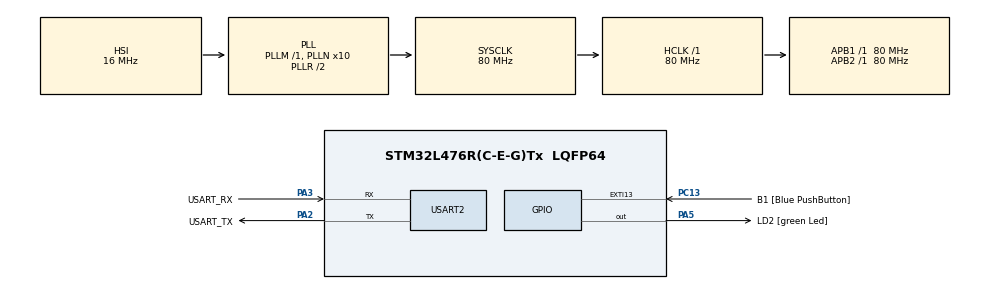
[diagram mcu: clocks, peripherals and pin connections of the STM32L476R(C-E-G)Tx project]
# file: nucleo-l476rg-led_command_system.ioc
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Mcu.Family=STM32L4
Mcu.Name=STM32L476R(C-E-G)Tx
Mcu.Package=LQFP64
NVIC.PriorityGroup=NVIC_PRIORITYGROUP_4
NVIC.USART2_IRQn=true\:0\:0\:false\:false\:true\:true\:true
PA13\ (JTMS-SWDIO).GPIO_Label=TMS
PA13\ (JTMS-SWDIO).Mode=Serial_Wire
PA13\ (JTMS-SWDIO).Signal=SYS_JTMS-SWDIO
PA14\ (JTCK-SWCLK).GPIO_Label=TCK
PA14\ (JTCK-SWCLK).Mode=Serial_Wire
PA14\ (JTCK-SWCLK).Signal=SYS_JTCK-SWCLK
PA2.GPIO_Label=USART_TX
PA2.GPIO_Mode=GPIO_MODE_AF_PP
PA2.GPIO_PuPd=GPIO_NOPULL
PA2.GPIO_Speed=GPIO_SPEED_FREQ_VERY_HIGH
PA2.Mode=Asynchronous
PA2.Signal=USART2_TX
PA3.GPIO_Label=USART_RX
PA3.GPIO_Mode=GPIO_MODE_AF_PP
PA3.GPIO_PuPd=GPIO_NOPULL
PA3.GPIO_Speed=GPIO_SPEED_FREQ_VERY_HIGH
PA3.Mode=Asynchronous
PA3.Signal=USART2_RX
PA5.GPIO_Label=LD2 [green Led]
PA5.GPIO_ModeDefaultOutputPP=GPIO_MODE_OUTPUT_PP
PA5.GPIO_PuPd=GPIO_NOPULL
PA5.GPIO_Speed=GPIO_SPEED_FREQ_LOW
PA5.Signal=GPIO_Output
PB3\ (JTDO-TRACESWO).GPIO_Label=SWO
PB3\ (JTDO-TRACESWO).Signal=SYS_JTDO-SWO
PC13.GPIO_Label=B1 [Blue PushButton]
PC13.GPIO_ModeDefaultEXTI=GPIO_MODE_IT_FALLING
PC13.GPIO_PuPd=GPIO_NOPULL
PC13.Signal=GPXTI13
PC14-OSC32_IN\ (PC14).Mode=LSE-External-Oscillator
PC14-OSC32_IN\ (PC14).Signal=RCC_OSC32_IN
PC15-OSC32_OUT\ (PC15).Mode=LSE-External-Oscillator
PC15-OSC32_OUT\ (PC15).Signal=RCC_OSC32_OUT
PH0-OSC_IN\ (PH0).Signal=RCC_OSC_IN
PH1-OSC_OUT\ (PH1).Signal=RCC_OSC_OUT
ProjectManager.HeapSize=0x200
ProjectManager.StackSize=0x400
ProjectManager.TargetToolchain=STM32CubeIDE
RCC.ADCFreq_Value=64000000
RCC.AHBFreq_Value=80000000
RCC.APB1Freq_Value=80000000
RCC.APB1TimFreq_Value=80000000
RCC.APB2Freq_Value=80000000
RCC.APB2TimFreq_Value=80000000
RCC.CortexFreq_Value=80000000
RCC.HCLKFreq_Value=80000000
RCC.HSE_VALUE=8000000
RCC.HSI_VALUE=16000000
RCC.MSI_VALUE=4000000
RCC.PLLN=10
RCC.PLLSourceVirtual=RCC_PLLSOURCE_HSI
RCC.PREFETCH_ENABLE=1
RCC.SYSCLKFreq_VALUE=80000000
RCC.SYSCLKSource=RCC_SYSCLKSOURCE_PLLCLK
RCC.USBFreq_Value=64000000
RCC.VCOOutputFreq_Value=160000000
USART2.VirtualMode-Asynchronous=VM_ASYNC
board=NUCLEO-L476RG

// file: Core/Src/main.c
/* USER CODE BEGIN Header */
/**
  ******************************************************************************
  * @file           : main.c
  * @brief          : Main program body
  ******************************************************************************
  * @attention
  *
  * <h2><center>&copy; Copyright (c) 2021 STMicroelectronics.
  * All rights reserved.</center></h2>
  *
  * This software component is licensed by ST under BSD 3-Clause license,
  * the "License"; You may not use this file except in compliance with the
  * License. You may obtain a copy of the License at:
  *                        opensource.org/licenses/BSD-3-Clause
  *
  ******************************************************************************
  */
/* USER CODE END Header */
#include "main.h"

/* USER CODE BEGIN Includes */
#include <string.h>
#include <stdio.h>
#include <stdbool.h>
/* USER CODE END Includes */

UART_HandleTypeDef huart2;

void SystemClock_Config(void);
static void MX_GPIO_Init(void);
static void MX_USART2_UART_Init(void);

/* USER CODE BEGIN 0 */

uint8_t safe_buff[100]; //Global variable that holds the completed command.
uint8_t rx_buff[100]= {0}; //Global variable that holds the command as it's being entered.
uint8_t rx_char[1] = {0}; //Global variable. Passed in the calling of the hal-uart-interrupt-function.
bool rx_complete = false; //Global variable that represents whether the command has been completed or not.
int last_command_count; // Integer variable only used in the hal-uart-interrupt function for internal logic. Should be a local variable since only using in one function.
int rx_count; //Integer variable. Only used in Nolan's function, so should be local?

/*
 *
 * --//PROJECT DESCRIPTION\\--
 * Print each token of my command to PuTTy on different lines.
 *
 * --//PROJECT STATUS\\--
 * INCOMPLETE.
 *
 * --//TASKS AT HAND\\--
 * Command out strtok in my notebook.
 *
 * Parse the command. The command will stay in the safe_buff array? Or I'll use the tx_buff.
 * But I'll do like the following, but translate the following to a string parsing function
 * from the internet.
 * if safebuff[0-3] == turn
 * if safebuff [5-6] == on
 * if safebuff [8--10] == led
 * then turn on led
 * end
 * end
 * end
 * Something like
 *
 * --//FUTURE TASKS. NOT THAT IMPORTANT\\--
 * While a commmand is being processed, do not call the next rx_cpl_callback,
 * aka don't let anyone type anything else until I'm ready to receive the next command.
 * The problem is that if I don't do this, while I'm processing code the user can still
 * type, and this basically starts the next command in the middle of processing. But I don't
 * what them to initialize another interrupt while I'm already executing the other interrupt
 * code.
 *
 *
 */

/* USER CODE END 0 */

int main(void)
{

  /* MCU Configuration--------------------------------------------------------*/

  /* Reset of all peripherals, Initializes the Flash interface and the Systick. */
  HAL_Init();

  /* Configure the system clock */
  SystemClock_Config();

  /* Initialize all configured peripherals */
  MX_GPIO_Init();
  MX_USART2_UART_Init();
  /* USER CODE BEGIN 2 */

  /*
   * The next buffers are used for transmitting to PuTTy if I've received a command.
   * To understand what they do, go to the section of the code where they're used.
   */
  uint8_t tx_buff[1000];
  uint8_t message[100];
  uint8_t message1[100];

  /*
   * The next lines of code are used for an initial transmitting to PuTTy that the program has been run...
   * and I can start typing into the terminal.
   */
  strcpy( (char*)tx_buff, "\r\n\r\nWhen you see this message twice, you may begin typing commands.\r\n\r\n"); //
  HAL_UART_Transmit(&huart2, tx_buff, strlen((char*)tx_buff), 500); //TWO

  /*
   * This is the initialization of PuTTy receiving a character. It tells PuTTy, "hey,..
   * receive the next character I'm about to type."
   */
  HAL_UART_Receive_IT(&huart2, rx_char, 1); //Start listening for interrupts.

  /* USER CODE END 2 */

  /* Infinite loop */
  /* USER CODE BEGIN WHILE */
  while (1)
  {
	  /*
	   * The following lines of commented code are just for reference. How to use snprintf and strcpy.
	   * Btw, sprintf is just strcpy but with formatting like %d and %s and %c and shit like that.
	   */
	  //snprintf((char*)tx_buff, sizeof(tx_buff), "Test print.\r\n");//Copies a value to the buffer. String casted integer.
	  //strcpy( (char*)tx_buff, "HI!\r\n");
	  //HAL_UART_Transmit(&huart2, tx_buff, strlen((char*)tx_buff), 500);

	  /*
	   * If I get a enter key, rx_complete is true
	   * Move the cursor down, aka transmit \r\n; print the contents of safe_buff. This is my command.
	   * ;move the cursor to the next spot.
	   * Set rx_complete to false to reset the debounce.
	   */
	  if (rx_complete)
	  {
		  /*
		   * The following code displays to PuTTy what the command was.
		   */
		  strcpy( (char*)message, "\r\n");
		  strcpy( (char*)message1, "----------------------------------");
		  snprintf(
				  (char*)tx_buff,
				  sizeof(tx_buff),
				  "\r\n%s%sThe command is was: %s%s%s",
				  message1, message, safe_buff, message, message
				  );
		  HAL_UART_Transmit(&huart2, tx_buff, strlen((char*)tx_buff), 500);

		  /*
		   * The following code tests that I can in fact parse a command. And that I can
		   * in fact display parsed tokens to PuTTy.
		   *
		   */

		 //char str[80] = "This is - www.tutorialspoint.com - website";
		 const char s[2] = " ";
		 char *token;

		 /* get the first token */
		 token = strtok((char*)safe_buff, s);

		 /* walk through other tokens */
		 while( token != NULL ) {
			 char commandCompareArray[50]; //This array holds what I'm comparing the token too.
			 strcpy( (char*)commandCompareArray, "led");
			 int stringsAreEqual = strcmp((const char*)token, (const char*)commandCompareArray);
			 if (stringsAreEqual == 0)
			 {
				 snprintf(
				 (char*)tx_buff,
				 sizeof(tx_buff),
				 "The first token was: led\r\n\r\n"
				 );
				 HAL_UART_Transmit(&huart2, tx_buff, strlen((char*)tx_buff), 500);

				 /*
				  * Get the next token
				  */
				 token = strtok(NULL, s);
				 strcpy( (char*)commandCompareArray, "on");
				 int stringsAreEqual = strcmp((const char*)token, (const char*)commandCompareArray);

				 if (stringsAreEqual == 0)
				 {
					 snprintf(
					 (char*)tx_buff,
					 sizeof(tx_buff),
					 "The second token was: on\r\n\r\n"
					 );
					 HAL_UART_Transmit(&huart2, tx_buff, strlen((char*)tx_buff), 500);

					 HAL_GPIO_WritePin(GPIOA, GPIO_PIN_5, 1);

					 /*
					  * Get the next token
					  */
					 token = strtok(NULL, s);
					 break;
				 }
				 else
				 {
					 strcpy( (char*)commandCompareArray, "off");
					 stringsAreEqual = strcmp((const char*)token, (const char*)commandCompareArray);

					 if (stringsAreEqual == 0)
					 {
						 snprintf(
						 (char*)tx_buff,
						 sizeof(tx_buff),
						 "The second token was: off\r\n\r\n"
						 );
						 HAL_UART_Transmit(&huart2, tx_buff, strlen((char*)tx_buff), 500);

						 HAL_GPIO_WritePin(GPIOA, GPIO_PIN_5, 0);

						 /*
						  * Get the next token
						  */
						 token = strtok(NULL, s);
						 break;

					 }
					 else
					 {
						 strcpy( (char*)commandCompareArray, "toggle");
						 stringsAreEqual = strcmp((const char*)token, (const char*)commandCompareArray);

						 if (stringsAreEqual == 0)
						 {
							 snprintf(
							 (char*)tx_buff,
							 sizeof(tx_buff),
							 "The second token was: toggle\r\n\r\n"
							 );
							 HAL_UART_Transmit(&huart2, tx_buff, strlen((char*)tx_buff), 500);

							 HAL_GPIO_TogglePin(GPIOA, GPIO_PIN_5);

							 /*
							  * Get the next token
							  */
							 token = strtok(NULL, s);
							 break;
						 }
					 }
				 }

			 }

			 /*
			  * IMPORTANT. VERIFIED: leave the following line here at the end of the loop through string
			  * using strtok function.
			  *
			  * The way the strtok function works, even in the case that
			  * I don't have a compare match because the user didn't put in a correct command,
			  * I'm still going to want to loop through the rest of the string.
			  * Otherwise I think for the next command string, there's residue from
			  * the previous string.
			  */
			token = strtok(NULL, s);
		 }

		  /*
		   * IMPORTANT. Reset rx_complete. Otherwise the rx complete code will run all the time.
		   */
		  rx_complete = false;
	  }
    /* USER CODE END WHILE */

  }
}

void SystemClock_Config(void)
{
  RCC_OscInitTypeDef RCC_OscInitStruct = {0};
  RCC_ClkInitTypeDef RCC_ClkInitStruct = {0};

  /** Configure the main internal regulator output voltage
  */
  if (HAL_PWREx_ControlVoltageScaling(PWR_REGULATOR_VOLTAGE_SCALE1) != HAL_OK)
  {
    Error_Handler();
  }
  /** Initializes the RCC Oscillators according to the specified parameters
  * in the RCC_OscInitTypeDef structure.
  */
  RCC_OscInitStruct.OscillatorType = RCC_OSCILLATORTYPE_HSI;
  RCC_OscInitStruct.HSIState = RCC_HSI_ON;
  RCC_OscInitStruct.HSICalibrationValue = RCC_HSICALIBRATION_DEFAULT;
  RCC_OscInitStruct.PLL.PLLState = RCC_PLL_ON;
  RCC_OscInitStruct.PLL.PLLSource = RCC_PLLSOURCE_HSI;
  RCC_OscInitStruct.PLL.PLLM = 1;
  RCC_OscInitStruct.PLL.PLLN = 10;
  RCC_OscInitStruct.PLL.PLLP = RCC_PLLP_DIV7;
  RCC_OscInitStruct.PLL.PLLQ = RCC_PLLQ_DIV2;
  RCC_OscInitStruct.PLL.PLLR = RCC_PLLR_DIV2;
  if (HAL_RCC_OscConfig(&RCC_OscInitStruct) != HAL_OK)
  {
    Error_Handler();
  }
  /** Initializes the CPU, AHB and APB buses clocks
  */
  RCC_ClkInitStruct.ClockType = RCC_CLOCKTYPE_HCLK|RCC_CLOCKTYPE_SYSCLK
                              |RCC_CLOCKTYPE_PCLK1|RCC_CLOCKTYPE_PCLK2;
  RCC_ClkInitStruct.SYSCLKSource = RCC_SYSCLKSOURCE_PLLCLK;
  RCC_ClkInitStruct.AHBCLKDivider = RCC_SYSCLK_DIV1;
  RCC_ClkInitStruct.APB1CLKDivider = RCC_HCLK_DIV1;
  RCC_ClkInitStruct.APB2CLKDivider = RCC_HCLK_DIV1;

  if (HAL_RCC_ClockConfig(&RCC_ClkInitStruct, FLASH_LATENCY_4) != HAL_OK)
  {
    Error_Handler();
  }
}

static void MX_USART2_UART_Init(void)
{

  huart2.Instance = USART2;
  huart2.Init.BaudRate = 115200;
  huart2.Init.WordLength = UART_WORDLENGTH_8B;
  huart2.Init.StopBits = UART_STOPBITS_1;
  huart2.Init.Parity = UART_PARITY_NONE;
  huart2.Init.Mode = UART_MODE_TX_RX;
  huart2.Init.HwFlowCtl = UART_HWCONTROL_NONE;
  huart2.Init.OverSampling = UART_OVERSAMPLING_16;
  huart2.Init.OneBitSampling = UART_ONE_BIT_SAMPLE_DISABLE;
  huart2.AdvancedInit.AdvFeatureInit = UART_ADVFEATURE_NO_INIT;
  if (HAL_UART_Init(&huart2) != HAL_OK)
  {
    Error_Handler();
  }

}

static void MX_GPIO_Init(void)
{
  GPIO_InitTypeDef GPIO_InitStruct = {0};

  /* GPIO Ports Clock Enable */
  __HAL_RCC_GPIOC_CLK_ENABLE();
  __HAL_RCC_GPIOH_CLK_ENABLE();
  __HAL_RCC_GPIOA_CLK_ENABLE();
  __HAL_RCC_GPIOB_CLK_ENABLE();

  /*Configure GPIO pin Output Level */
  HAL_GPIO_WritePin(LD2_GPIO_Port, LD2_Pin, GPIO_PIN_RESET);

  /*Configure GPIO pin : B1_Pin */
  GPIO_InitStruct.Pin = B1_Pin;
  GPIO_InitStruct.Mode = GPIO_MODE_IT_FALLING;
  GPIO_InitStruct.Pull = GPIO_NOPULL;
  HAL_GPIO_Init(B1_GPIO_Port, &GPIO_InitStruct);

  /*Configure GPIO pin : LD2_Pin */
  GPIO_InitStruct.Pin = LD2_Pin;
  GPIO_InitStruct.Mode = GPIO_MODE_OUTPUT_PP;
  GPIO_InitStruct.Pull = GPIO_NOPULL;
  GPIO_InitStruct.Speed = GPIO_SPEED_FREQ_LOW;
  HAL_GPIO_Init(LD2_GPIO_Port, &GPIO_InitStruct);

}

/* USER CODE BEGIN 4 */
void HAL_UART_RxCpltCallback(UART_HandleTypeDef *huart)
{
    if (huart->Instance == huart2.Instance)
        {
            switch (*rx_char)
            {
                // if we receive a carriage return, newline, or null terminator, then we have received a complete command
                case '\r':
                case '\n':
                case '\0':
                {
                    //The C library function void *memcpy(void *dest, const void *src, size_t n) copies n characters from memory area src to memory area dest.
                    memcpy(safe_buff, rx_buff, rx_count + 1);
                    last_command_count = rx_count;

                    memset(rx_buff, 0, sizeof(rx_buff));
                    rx_count = 0;

    #ifdef ECHO_RECEIVED_CHARACTERS
                    uint8_t new_line[2] = {'\r', '\n'};
                    HAL_UART_Transmit(&huart2, new_line, 2, 100);        // transmit CRLF
    #endif

                    rx_complete = true;
                    break;
                }
                /*
                 * FIXME: When user back spaces, the data may reflect that the user backspaced, but when the user sends the command,
                 * the command comes back as unrecognized. Probably because there is some interfering data being left into the incoming_command buffer.
                 *
                 * To replicate error: type in a command, hit back space, then fill out the rest of the command, then hit enter. You will get an unrecognized command error
                 * even though you typed it in correctly.
                 */
                // if we have received a backspace character, then delete the last received character
                case '\b':
                {
                    // set current buffer position to 0; if we are not already at index 0 then move back one index and set that value to 0 as well
                    if (rx_count)
                    {
                        rx_buff[rx_count] = 0;
                        rx_count --;
    #ifdef ECHO_RECEIVED_CHARACTERS
                    uint8_t tx_char = ' ';
                    HAL_UART_Transmit(&huart2, &rx_char, 1, 100);        // transmit backspace character to move our cursor back once on the terminal
                    HAL_UART_Transmit(&huart2, &tx_char, 1, 100);        // transmit space character to clear the character that was there
                    HAL_UART_Transmit(&huart2, &rx_char, 1, 100);        // transmit backspace character to once again move back a space
    #endif
                    }
                    rx_buff[rx_count] = 0;

                    break;
                }

                // we have received some other character, store it to the array
                default:
                {
                    rx_buff[rx_count] = *rx_char;
                    rx_count ++;

    #ifdef ECHO_RECEIVED_CHARACTERS
                    HAL_UART_Transmit(&huart2, &rx_char, 1, 100);        // echo the received character to the terminal
    #endif
                    //Show the input being entered by user on the terminal
                    uint8_t show_input[50];
                    strcpy ( (char*)show_input, (char*)rx_char);
                    HAL_UART_Transmit(&huart2, show_input, strlen((char*)show_input),1000);
                    break;
                }
            }

            *rx_char = 0; //In the switch statement, one of the cases is a 0, so I assume this is necessary.

            /*
             * Leave the following line in the function. If I remove it, the user will only
             * be able to call a single interrupt, thus only be able to type a single
             * character into putty.
             */
            HAL_UART_Receive_IT(&huart2, rx_char, 1);

        }
}
/* USER CODE END 4 */

void Error_Handler(void)
{
  __disable_irq();
  while (1)
  {
  }
}

/************************ (C) COPYRIGHT STMicroelectronics *****END OF FILE****/
